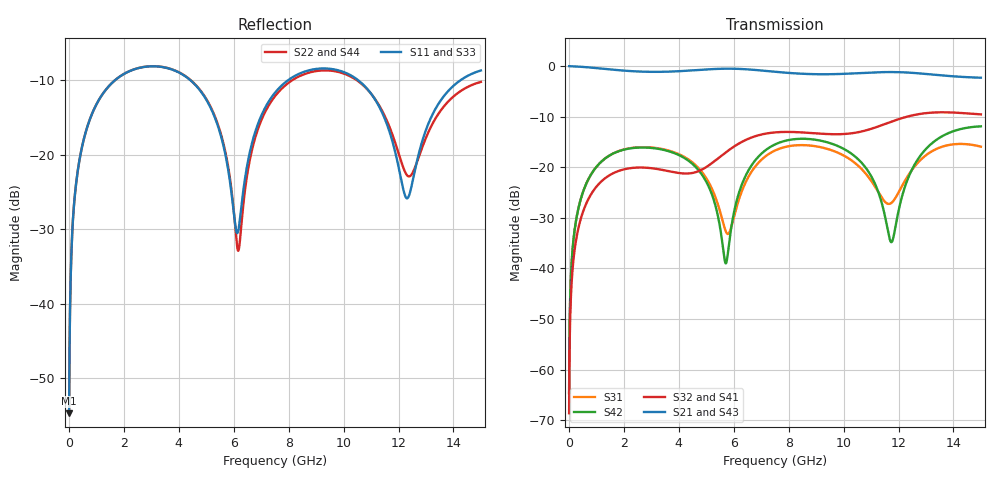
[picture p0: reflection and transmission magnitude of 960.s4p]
! Created with skrf 1.8.0 (http://scikit-rf.org).
# GHz S RI R 50.0
!freq ReS11 ImS11 ReS12 ImS12 ReS13 ImS13
! ReS14 ImS14
! ReS21 ImS21 ReS22 ImS22 ReS23 ImS23
! ReS24 ImS24
! ReS31 ImS31 ReS32 ImS32 ReS33 ImS33
! ReS34 ImS34
! ReS41 ImS41 ReS42 ImS42 ReS43 ImS43
! ReS44 ImS44
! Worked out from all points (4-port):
!   2499 points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, 5 MHz to 15 GHz, reference 50 ohm
!   strongest paths, dB at 5 MHz, 3.476 GHz, 7.19 GHz, 11.1 GHz, 15 GHz:
!     S21: 0.0, -1.1, -1.0, -1.2, -2.3
!     S43: 0.0, -1.1, -1.0, -1.2, -2.3
!     S32: -68.7, -20.6, -13.3, -12.2, -9.5
!     S41: -68.7, -20.6, -13.3, -12.3, -9.6
!     S42: -64.7, -16.6, -16.5, -22.7, -11.9
!     S31: -64.7, -16.5, -17.7, -23.4, -15.9
!   lowest |S11| = -54.7 dB at 5 MHz (marker M1), VSWR 1.00, Z = 50.1 + j0.111 ohm
!   |S11| at or under -10 dB: start of sweep to 1.674 GHz; 4.425 GHz to 7.973 GHz (3.548 GHz wide, 57.2 % of centre); 10.53 GHz to 14.25 GHz (3.72 GHz wide, 30 % of centre)
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0.005  0.00146 0.00111  0.9985 -0.00284  7.28e-05 0.000578  -7.07e-05 -0.000362
       0.9985 -0.00284  0.00146 0.00111  -7.07e-05 -0.000362  7.28e-05 0.000578
       7.28e-05 0.000578  -7.07e-05 -0.000362  0.00146 0.00111  0.9985 -0.00284
       -7.07e-05 -0.000362  7.28e-05 0.000578  0.9985 -0.00284  0.00146 0.00111
0.3626511  0.0247 0.0842  0.966 -0.2046  0.0116 0.0397  -0.00962 -0.0245
           0.966 -0.2046  0.0248 0.0842  -0.00962 -0.0245  0.0115 0.0397
           0.0116 0.0397  -0.00962 -0.0245  0.0247 0.0842  0.966 -0.2046
           -0.00962 -0.0245  0.0115 0.0397  0.966 -0.2046  0.0248 0.0842
1.619545  0.2477 0.1863  0.5964 -0.7012  0.1203 0.0665  -0.0864 -0.0138
          0.5964 -0.7012  0.2479 0.1863  -0.0864 -0.0138  0.1188 0.0683
          0.1203 0.0665  -0.0864 -0.0138  0.2477 0.1864  0.5964 -0.7011
          -0.0864 -0.0138  0.1188 0.0683  0.5964 -0.7011  0.248 0.1863
5.977491  0.0314 -0.0319  -0.9301 -0.1501  -0.0202 0.0221  -0.0215 0.1566
          -0.9301 -0.1501  0.0253 -0.0389  -0.0216 0.1566  0.0158 0.0283
          -0.0202 0.0221  -0.0216 0.1566  0.0302 -0.0335  -0.9299 -0.1506
          -0.0215 0.1566  0.0158 0.0283  -0.9299 -0.1506  0.0269 -0.0401
9.578991  0.3727 -0.0532  0.0202 0.8318  0.1279 -0.0719  0.2008 -0.066
          0.0202 0.8318  0.3651 -0.0296  0.2014 -0.0669  0.1333 -0.1065
          0.1279 -0.0719  0.2014 -0.0669  0.3701 -0.0498  0.0207 0.8329
          0.2008 -0.066  0.1333 -0.1065  0.0207 0.8329  0.3626 -0.0334
11.74239  0.0792 -0.1028  0.78 0.3931  -0.0443 0.00272  0.1224 -0.2545
          0.78 0.3931  0.102 -0.0992  0.1209 -0.2551  -0.0179 0.00315
          -0.0443 0.00272  0.1209 -0.2551  0.0814 -0.0993  0.7811 0.3919
          0.1224 -0.2545  -0.0179 0.00315  0.7811 0.3919  0.0973 -0.0994
15  0.363 0.0599  0.316 -0.7001  0.1597 -0.00469  -0.3259 -0.0679
    0.316 -0.7001  0.3016 0.0639  -0.3264 -0.0671  0.2184 -0.129
    0.1597 -0.00469  -0.3264 -0.0671  0.3592 0.0571  0.3154 -0.7022
    -0.3259 -0.0679  0.2184 -0.129  0.3154 -0.7022  0.2972 0.0627
